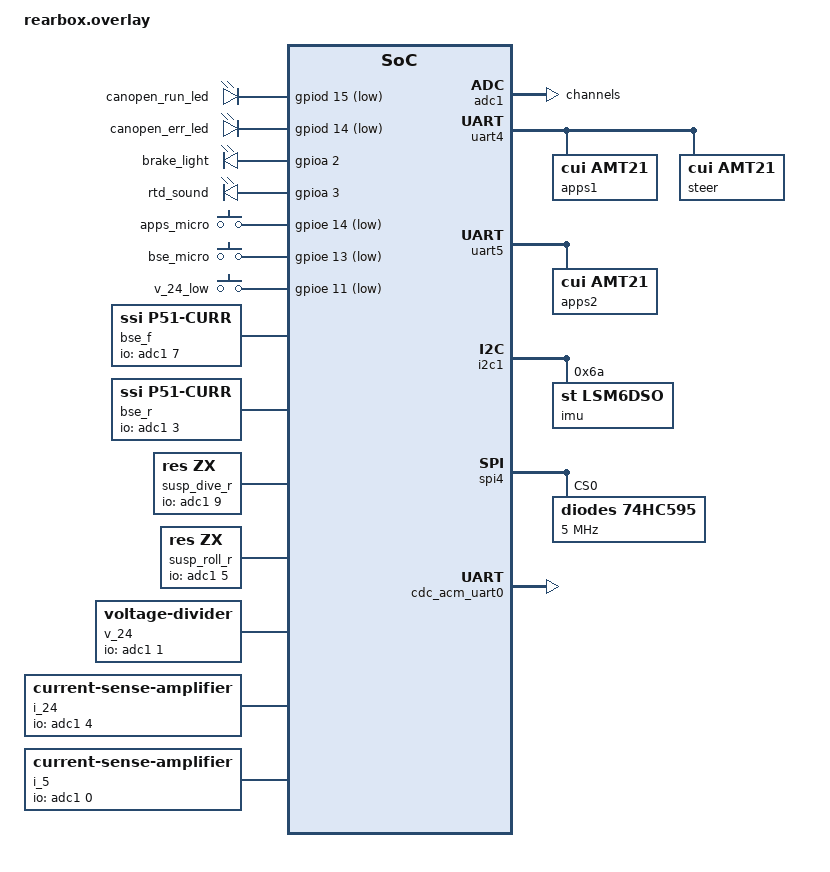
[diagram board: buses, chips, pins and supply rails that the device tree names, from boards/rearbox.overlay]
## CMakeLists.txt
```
cmake_minimum_required(VERSION 3.20.0)
set(CMAKE_C_STANDARD 11)

find_package(Zephyr REQUIRED HINTS $ENV{ZEPHYR_BASE})

project(nturt_rear_box LANGUAGES C)

zephyr_include_directories(
    include
)

add_subdirectory(src/ctrl)
add_subdirectory(src/msg)
add_subdirectory(src/sensors)
add_subdirectory(src/states)

target_sources(app PRIVATE
    src/err.c
    src/main.c
    src/sys.c
)
```

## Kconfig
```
menu "Zephyr"
source "Kconfig.zephyr"
endmenu # "Zephyr"

menu "Rear Box"

rsource "src/ctrl/Kconfig"
rsource "src/msg/Kconfig"
rsource "src/sensors/Kconfig"
rsource "src/states/Kconfig"

endmenu # "Rear Box"
```

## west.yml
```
manifest:
  remotes:
    - name: zephyrproject-rtos
      url-base: https://github.com/zephyrproject-rtos
    - name: nturt
      url-base: https://github.com/NTURacingTeam

  group-filter: [+optional]

  projects:
    - name: zephyr
      remote: nturt
      revision: v4.0.0-nturt
      import: true
    - name: nturt_zephyr_common
      remote: nturt
      revision: master
```

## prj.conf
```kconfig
# compiler
CONFIG_DEBUG=y
CONFIG_DEBUG_OPTIMIZATIONS=y
CONFIG_ASSERT=y

# kernel
CONFIG_REBOOT=y
CONFIG_IDLE_STACK_SIZE=2048

## memory
CONFIG_HEAP_MEM_POOL_SIZE=4096
CONFIG_COMMON_LIBC_MALLOC_ARENA_SIZE=4096

## workqueue
CONFIG_SYSTEM_WORKQUEUE_STACK_SIZE=4096

# hardware
CONFIG_DMA=y

## gpios
CONFIG_GPIO=y

## adc
CONFIG_ADC=y

## uart
CONFIG_SERIAL=y
CONFIG_UART_ASYNC_API=y

## spi
CONFIG_SPI=y

## can
CONFIG_CAN=y
CONFIG_CAN_ACCEPT_RTR=y
CONFIG_CAN_STATS=y

## rtc
CONFIG_RTC=y

## battery backed ram
CONFIG_BBRAM=y

# drivers
## disk
CONFIG_DISK_DRIVERS=y

## leds
CONFIG_LED=y

## sensors
CONFIG_SENSOR=y

## auxiliary display
CONFIG_AUXDISPLAY=y

# os services
## disk
CONFIG_DISK_ACCESS=y

## file system
CONFIG_FILE_SYSTEM=y

## logging
CONFIG_LOG=y
CONFIG_PRINTK=y
CONFIG_LOG_DEFAULT_LEVEL=3
CONFIG_LOG_BUFFER_SIZE=4096
CONFIG_LOG_PROCESS_THREAD_SLEEP_MS=100
CONFIG_LOG_PROCESS_THREAD_STACK_SIZE=4096

### backends
CONFIG_LOG_BACKEND_RTT=y

CONFIG_LOG_BACKEND_FS=y
CONFIG_LOG_BACKEND_FS_DIR="/SD:/log"
CONFIG_LOG_BACKEND_FS_FILE_PREFIX=""
CONFIG_LOG_BACKEND_FS_FILES_LIMIT=4
CONFIG_LOG_BACKEND_FS_FILE_SIZE=262144

## shell
CONFIG_SHELL=y
CONFIG_SHELL_STACK_SIZE=4096

## settings
CONFIG_SETTINGS=y

### backends
CONFIG_SETTINGS_FILE=y
CONFIG_SETTINGS_FILE_MAX_LINES=32
CONFIG_SETTINGS_FILE_PATH="/SD:/settings"

## rtt
CONFIG_USE_SEGGER_RTT=y

## tracing
# CONFIG_TRACING=y

# ## sysview
# CONFIG_SEGGER_SYSTEMVIEW=y
# CONFIG_SEGGER_SYSVIEW_RTT_BUFFER_SIZE=32768

## input
CONFIG_INPUT=y
CONFIG_INPUT_EVENT_DUMP=y

## zbus
CONFIG_ZBUS=y
CONFIG_ZBUS_CHANNEL_NAME=y

## can open
CONFIG_CANOPEN=y
CONFIG_CANOPENNODE_CONFIG_FILE="canopen_config.h"
CONFIG_CANOPENNODE_MAINLINE_THREAD_STACK_SIZE=2048

## statistics
CONFIG_STATS=y

## state machine
CONFIG_SMF=y
CONFIG_SMF_ANCESTOR_SUPPORT=y
CONFIG_SMF_INITIAL_TRANSITION=y

# libraries
## nturt
CONFIG_NTURT=y

### system
CONFIG_NTURT_SYS=y

#### file system
CONFIG_NTURT_SYS_FS=y

#### rtc
CONFIG_NTURT_SYS_RTC=y

#### shell
CONFIG_NTURT_SHELL=y

### message
CONFIG_NTURT_MSG=y
CONFIG_NTURT_MSG_HB=y
CONFIG_NTURT_MSG_SDO_SRV=y
CONFIG_NTURT_MSG_SDO_CLI=y

### sensors
CONFIG_NTURT_SENSORS=y

# application
CONFIG_MAIN_STACK_SIZE=2048

## states
CONFIG_DANGER_MODE=y

## sensors
CONFIG_SENSORS_TOL_THRES=100

CONFIG_AMT21_READ_TRIES=10

### pedals
CONFIG_PEDAL_PLAUS=y

#### APPS
CONFIG_APPS_PLAUS=n
CONFIG_APPS_MICRO=n

#### BSE
CONFIG_BSE_MICRO=n
CONFIG_BSE_R=n
CONFIG_BSE_PLAUS=n
```

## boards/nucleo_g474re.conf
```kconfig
# hardware
## spi
CONFIG_SPI_STM32_DMA=y

## file system
CONFIG_FILE_SYSTEM_LITTLEFS=y
CONFIG_FS_LITTLEFS_CACHE_SIZE=512

## shell
### backends
CONFIG_SHELL_BACKEND_SERIAL=y
CONFIG_SHELL_BACKEND_SERIAL_API_ASYNC=y
CONFIG_SHELL_BACKEND_SERIAL_TX_RING_BUFFER_SIZE=64

# libraries
## nturt
### system
#### file system
CONFIG_NTURT_SYS_FS_LITTLE_FS=y
```

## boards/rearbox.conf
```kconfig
# hardware
## spi
CONFIG_SPI_STM32_DMA=y

# drivers
## disk
CONFIG_DISK_DRIVER_SDMMC=y
CONFIG_SDMMC_STM32_HWFC=y

## usb
CONFIG_USB_DEVICE_DRIVER=y
CONFIG_USB_DRIVER_LOG_LEVEL_WRN=y

# os services
## file system
CONFIG_FAT_FILESYSTEM_ELM=y
CONFIG_FILE_SYSTEM_SHELL_BUFFER_SIZE=1024

## logging
### backend
# 32MB
CONFIG_LOG_BACKEND_FS_FILE_SIZE=33554432

### fatfs
CONFIG_FS_FATFS_LFN=y

## shell
CONFIG_SHELL_STACK_SIZE=8192

### backends
CONFIG_SHELL_BACKEND_SERIAL=y
CONFIG_SHELL_BACKEND_SERIAL_TX_RING_BUFFER_SIZE=64

## usb
CONFIG_USB_DEVICE_STACK=y
CONFIG_USB_DEVICE_PRODUCT="NTU Racing Team rearbox"
CONFIG_USB_DEVICE_PID=0x0001
CONFIG_USB_DEVICE_INITIALIZE_AT_BOOT=y
CONFIG_USB_DEVICE_LOG_LEVEL_WRN=y

### usb cdc acm
CONFIG_USB_CDC_ACM=y
CONFIG_USB_CDC_ACM_LOG_LEVEL_WRN=y

### usb msc
# CONFIG_USB_MASS_STORAGE=y
# CONFIG_USB_MASS_STORAGE_LOG_LEVEL_WRN=y

# libraries
## nturt
### system
#### file system
CONFIG_NTURT_SYS_FS_FAT_FS=y

# applications
CONFIG_SENSORS_POWER=y
```

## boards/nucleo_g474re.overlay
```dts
/ {
    aliases {
        canopen-can = &fdcan2;
        canopen-green-led = &canopen_run_led;
        canopen-red-led = &canopen_err_led;
    };
    
    leds: leds {
        compatible = "gpio-leds";

        canopen_run_led: canopen-run-led {
            gpios = <&gpioa 7 GPIO_ACTIVE_HIGH>;
        };

        canopen_err_led: canopen-err-led {
            gpios = <&gpioa 6 GPIO_ACTIVE_HIGH>;
        };

        brake_light: brake-light {
            gpios = <&gpiob 0 GPIO_ACTIVE_HIGH>;
        };

        rtd_sound: rtd-sound {
            gpios = <&gpioc 8 GPIO_ACTIVE_HIGH>;
        };
    };

    dash_leds: dash-leds {
        compatible = "nturt,dash-leds";
        index = <0x2120>;
        node-id = <0x02>;
        status = "okay";
    };

    pwmleds: pwmleds {
        compatible = "pwm-leds";

        green_pwm_led {
            status = "disabled";
        };
    };

    buttons: buttons {
        compatible = "gpio-keys";
        debounce-interval-ms = <20>;

        apps_micro: apps-micro {
            gpios = <&gpioa 9 GPIO_ACTIVE_LOW>;
            zephyr,code = <INPUT_KEY_A>;
        };

        bse_micro: bse-micro {
            gpios = <&gpioc 7 GPIO_ACTIVE_LOW>;
            zephyr,code = <INPUT_KEY_B>;
        };
    };

    dash_buttons: dash-buttons {
        compatible = "nturt,dash-keys";
        index = <0x2110>;
        zephyr,code = <INPUT_KEY_PLAY>, <INPUT_KEY_H>, <INPUT_KEY_M>;
        status = "okay";
    };

    longpress: longpress {
        compatible = "zephyr,input-longpress";
        input-codes = <INPUT_KEY_PLAY>, <INPUT_KEY_M>, <INPUT_KEY_H>;
        long-codes = <INPUT_KEY_POWER>, <INPUT_KEY_MENU>, <INPUT_KEY_HOME>;
        long-delay-ms = <2000>;
    };

    bse_f: bse-f {
        compatible = "ssi,p51-curr";
        io-channels = <&adc1 1>;
        full-scale = <1000>;
        shunt-resistor = <103200>;
        tolerance = <10>;
        status = "okay";
    };

    bse_r: bse-r {
        compatible = "ssi,p51-curr";
        io-channels = <&adc1 2>;
        full-scale = <1000>;
        shunt-resistor = <103200>;
        tolerance = <10>;
        status = "okay";
    };

    susp_dive_r: susp-dive-r {
        compatible = "res,zx";
        io-channels = <&adc1 8>;
        stroke = <50>;
        status = "okay";
    };

    susp_roll_r: susp-roll-r {
        compatible = "res,zx";
        io-channels = <&adc1 9>;
        stroke = <50>;
        status = "okay";
    };

    wheel_speed_fl: wheel-speed-fl {
        compatible = "hall-rpm";
        gpios = <&gpiob 2 (GPIO_ACTIVE_HIGH | GPIO_PULL_DOWN)>;
        num-tooth = <20>;
        status = "okay";
    };

    error_disp: error-disp {
        compatible = "gpio-seg-display";
        #address-cells = <1>;
        #size-cells = <0>;
        decimal-point;
        columns = <2>;
        rows = <1>;
        status = "okay";

        seg-display@0 {
            reg = <0>;
            segment-gpios = <&ex_gpio1 0 GPIO_ACTIVE_HIGH>,
                            <&ex_gpio1 1 GPIO_ACTIVE_HIGH>,
                            <&ex_gpio1 2 GPIO_ACTIVE_HIGH>,
                            <&ex_gpio1 3 GPIO_ACTIVE_HIGH>,
                            <&ex_gpio1 4 GPIO_ACTIVE_HIGH>,
                            <&ex_gpio1 5 GPIO_ACTIVE_HIGH>,
                            <&ex_gpio1 6 GPIO_ACTIVE_HIGH>,
                            <&ex_gpio1 7 GPIO_ACTIVE_HIGH>;
        };

        seg-display@1 {
            reg = <1>;
            segment-gpios = <&ex_gpio0 0 GPIO_ACTIVE_HIGH>,
                            <&ex_gpio0 1 GPIO_ACTIVE_HIGH>,
                            <&ex_gpio0 2 GPIO_ACTIVE_HIGH>,
                            <&ex_gpio0 3 GPIO_ACTIVE_HIGH>,
                            <&ex_gpio0 4 GPIO_ACTIVE_HIGH>,
                            <&ex_gpio0 5 GPIO_ACTIVE_HIGH>,
                            <&ex_gpio0 6 GPIO_ACTIVE_HIGH>,
                            <&ex_gpio0 7 GPIO_ACTIVE_HIGH>;
        };
    };

    fstab {
        compatible = "zephyr,fstab";

        lfs1: lfs1 {
            compatible = "zephyr,fstab,littlefs";
            disk-access;
            read-size = <512>;
            prog-size = <512>;
            cache-size = <512>;
            lookahead-size = <32>;
            block-cycles = <512>;
            partition = <&storage_partition>;
            mount-point = "/lfs1";
        };
    };
};

&clk_lse {
    status = "okay";
};

&rcc {
    apb1-prescaler = <4>;
    apb2-prescaler = <4>;
};

&dma1 {
    status = "okay";
};

&dmamux1 {
    status = "okay";
};

&rtc {
    clocks = <&rcc STM32_CLOCK_BUS_APB1 0x00000400>,
        <&rcc STM32_SRC_LSE RTC_SEL(1)>;

    bbram: backup_regs {
        compatible = "st,stm32-bbram";
        st,backup-regs = <32>;
        status = "okay";
    };
};

&adc1 {
	pinctrl-0 = <&adc1_in1_pa0 &adc1_in2_pa1 &adc1_in8_pc2 &adc1_in9_pc3>;
	pinctrl-names = "default";
	st,adc-clock-source = <SYNC>;
	st,adc-prescaler = <4>;
    #address-cells = <1>;
    #size-cells = <0>;
	status = "okay";

    channel@1 {
        reg = <1>;
        zephyr,gain = "ADC_GAIN_1";
        zephyr,reference = "ADC_REF_INTERNAL";
        zephyr,acquisition-time = <ADC_ACQ_TIME(ADC_ACQ_TIME_TICKS, 93)>;
        zephyr,resolution = <12>;
        zephyr,oversampling = <8>;
    };

    channel@2 {
        reg = <2>;
        zephyr,gain = "ADC_GAIN_1";
        zephyr,reference = "ADC_REF_INTERNAL";
        zephyr,acquisition-time = <ADC_ACQ_TIME(ADC_ACQ_TIME_TICKS, 93)>;
        zephyr,resolution = <12>;
        zephyr,oversampling = <8>;
    };

    channel@8 {
        reg = <8>;
        zephyr,gain = "ADC_GAIN_1";
        zephyr,reference = "ADC_REF_INTERNAL";
        zephyr,acquisition-time = <ADC_ACQ_TIME(ADC_ACQ_TIME_TICKS, 93)>;
        zephyr,resolution = <12>;
    };

    channel@9 {
        reg = <9>;
        zephyr,gain = "ADC_GAIN_1";
        zephyr,reference = "ADC_REF_INTERNAL";
        zephyr,acquisition-time = <ADC_ACQ_TIME(ADC_ACQ_TIME_TICKS, 93)>;
        zephyr,resolution = <12>;
    };
};

&usart1 {
    pinctrl-0 = <&usart1_tx_pc4 &usart1_rx_pc5 &usart1_de_pa12>;
    pinctrl-names = "default";
    current-speed = <38400>;
    de-enable;
    de-assert-time = <6>;
    de-deassert-time = <6>;
    status = "okay";

    apps1: encoder1 {
        compatible = "cui,amt21";
        addr = <0x54>;
        status = "okay";
    };

    steer: encoder0 {
        compatible = "cui,amt21";
        addr = <0x50>;
        status = "okay";
    };
};

&usart3 {
    pinctrl-0 = <&usart3_tx_pb10 &usart3_rx_pb11 &usart3_de_pb14>;
    pinctrl-names = "default";
    current-speed = <38400>;
    de-enable;
    de-assert-time = <6>;
    de-deassert-time = <6>;
    status = "okay";

    apps2: encoder2 {
        compatible = "cui,amt21";
        addr = <0x54>;
        status = "okay";
    };
};

&uart5 {
    pinctrl-0 = <&uart5_tx_pc12 &uart5_rx_pd2 &uart5_de_pb4>;
    pinctrl-names = "default";
    current-speed = <38400>;
    de-enable;
    de-assert-time = <6>;
    de-deassert-time = <6>;
    status = "disabled";
};

&spi2 {
    pinctrl-0 = <&spi2_sck_pb13 &spi2_miso_pa10 &spi2_mosi_pb15>;
    pinctrl-names = "default";
    cs-gpios = <&gpioc 6 (GPIO_ACTIVE_LOW | GPIO_PULL_UP)>;
    status = "okay";

    74hc595@0 {
        compatible = "diodes,74hc595";
        #address-cells = <1>;
        #size-cells = <0>;
        reg = <0>;
        spi-max-frequency = <5000000>;
        status = "okay";

        ex_gpio0: ex-gpio@0 {
            reg = <0>;
            gpio-controller;
            ngpios = <8>;
            #gpio-cells = <2>;
            status = "okay";
        };

        ex_gpio1: ex-gpio@1 {
            reg = <1>;
            gpio-controller;
            ngpios = <8>;
            #gpio-cells = <2>;
            status = "okay";
        };
    };
};

&spi3 {
    pinctrl-0 = <&spi3_sck_pc10 &spi3_miso_pc11 &spi3_mosi_pb5>;
    pinctrl-names = "default";
    cs-gpios = <&gpiob 7 (GPIO_ACTIVE_LOW | GPIO_PULL_UP)>;
    dmas = <&dmamux1 1 14 STM32_DMA_PERIPH_RX>,
        <&dmamux1 2 15 STM32_DMA_PERIPH_TX>;
    dma-names = "rx", "tx";
    status = "okay";

    sdhc0: sdhc@0 {
        compatible = "zephyr,sdhc-spi-slot";
        reg = <0>;
        spi-max-frequency = <4000000>;
        status = "okay";

        mmc {
            compatible = "zephyr,sdmmc-disk";
            status = "okay";
        };
    };
};

&fdcan1 {
    pinctrl-0 = <&fdcan1_tx_pb9 &fdcan1_rx_pb8>;
    pinctrl-names = "default";
    bitrate = <500000>;
    sample-point = <800>;
    bitrate-data = <500000>;
    sample-point-data = <800>;
    status = "disabled";
};

&fdcan2 {
    pinctrl-0 = <&fdcan2_tx_pb6 &fdcan2_rx_pb12>;
    pinctrl-names = "default";
    bitrate = <500000>;
    sample-point = <800>;
    bitrate-data = <500000>;
    sample-point-data = <800>;
    status = "okay";
};

&fdcan3 {
    pinctrl-0 = <&fdcan3_tx_pa15 &fdcan3_rx_pa8>;
    pinctrl-names = "default";
    bitrate = <500000>;
    sample-point = <800>;
    bitrate-data = <500000>;
    sample-point-data = <800>;
    status = "disabled";
};
```

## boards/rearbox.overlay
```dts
#include "dt-bindings/rear_box.h"

/ {
    chosen {
        zephyr,console = &cdc_acm_uart0;
        zephyr,shell-uart = &cdc_acm_uart0;
        nturt,rtc = &rtc;
    };

    aliases {
        canopen-green-led = &canopen_run_led;
        canopen-red-led = &canopen_err_led;
    };

    leds: leds {
        compatible = "gpio-leds";

        place-holder {
            gpios = <&gpioa 0 GPIO_ACTIVE_HIGH>;
            status = "disabled";
        };

        canopen_run_led: canopen-run-led {
            gpios = <&gpiod 15 (GPIO_ACTIVE_LOW | GPIO_OPEN_DRAIN)>;
        };

        canopen_err_led: canopen-err-led {
            gpios = <&gpiod 14 (GPIO_ACTIVE_LOW | GPIO_OPEN_DRAIN)>;
        };

        brake_light: brake-light {
            gpios = <&gpioa 2 GPIO_ACTIVE_HIGH>;
        };

        rtd_sound: rtd-sound {
            gpios = <&gpioa 3 GPIO_ACTIVE_HIGH>;
        };
    };

    dash_leds: dash-leds {
        compatible = "nturt,dash-leds";
    };

    buttons: buttons {
        compatible = "gpio-keys";
        debounce-interval-ms = <20>;

        apps_micro: apps-micro {
            gpios = <&gpioe 14 (GPIO_ACTIVE_LOW | GPIO_PULL_UP)>;
            zephyr,code = <INPUT_APPS_MICRO>;
        };

        bse_micro: bse-micro {
            gpios = <&gpioe 13 (GPIO_ACTIVE_LOW | GPIO_PULL_UP)>;
            zephyr,code = <INPUT_BSE_MICRO>;
        };

        v_24_low: v-24-low {
            gpios = <&gpioe 11 (GPIO_ACTIVE_LOW | GPIO_PULL_UP)>;
            zephyr,code = <INPUT_POWER_LOW>;
        };

    };

    bse_f: bse-f {
        compatible = "ssi,p51-curr";
        io-channels = <&adc1 7>;
        full-scale = <1000>;
        shunt-resistor = <120000>;
        tolerance = <10>;
    };

    bse_r: bse-r {
        compatible = "ssi,p51-curr";
        io-channels = <&adc1 3>;
        full-scale = <1000>;
        shunt-resistor = <120000>;
        tolerance = <10>;
    };

    susp_dive_r: susp-dive-r {
        compatible = "res,zx";
        io-channels = <&adc1 9>;
        stroke = <50>;
    };

    susp_roll_r: susp-roll-r {
        compatible = "res,zx";
        io-channels = <&adc1 5>;
        stroke = <50>;
    };

    v_24: v-24 {
        compatible = "voltage-divider";
        io-channels = <&adc1 1>;
        full-ohms = <(47000 + 5600)>;
        output-ohms = <5600>;
    };

    i_24: i-24 {
        compatible = "current-sense-amplifier";
        io-channels = <&adc1 4>;
        sense-resistor-milli-ohms = <5>;
        sense-gain-mult = <100>;
    };

    i_5: i-5 {
        compatible = "current-sense-amplifier";
        io-channels = <&adc1 0>;
        sense-resistor-milli-ohms = <10>;
        sense-gain-mult = <100>;
    };

    error_disp: error-disp {
        compatible = "gpio-seg-display";
        #address-cells = <1>;
        #size-cells = <0>;
        decimal-point;
        columns = <2>;
        rows = <1>;

        seg-display@0 {
            reg = <0>;
            segment-gpios = <&ex_gpio1 0 GPIO_ACTIVE_HIGH>,
                            <&ex_gpio1 1 GPIO_ACTIVE_HIGH>,
                            <&ex_gpio1 2 GPIO_ACTIVE_HIGH>,
                            <&ex_gpio1 3 GPIO_ACTIVE_HIGH>,
                            <&ex_gpio1 4 GPIO_ACTIVE_HIGH>,
                            <&ex_gpio1 5 GPIO_ACTIVE_HIGH>,
                            <&ex_gpio1 6 GPIO_ACTIVE_HIGH>,
                            <&ex_gpio1 7 GPIO_ACTIVE_HIGH>;
        };

        seg-display@1 {
            reg = <1>;
            segment-gpios = <&ex_gpio0 0 GPIO_ACTIVE_HIGH>,
                            <&ex_gpio0 1 GPIO_ACTIVE_HIGH>,
                            <&ex_gpio0 2 GPIO_ACTIVE_HIGH>,
                            <&ex_gpio0 3 GPIO_ACTIVE_HIGH>,
                            <&ex_gpio0 4 GPIO_ACTIVE_HIGH>,
                            <&ex_gpio0 5 GPIO_ACTIVE_HIGH>,
                            <&ex_gpio0 6 GPIO_ACTIVE_HIGH>,
                            <&ex_gpio0 7 GPIO_ACTIVE_HIGH>;
        };
    };
};

&gpdma1 {
    status = "okay";
};

&adc1 {
    channel@0 {
        zephyr,oversampling = <4>;
    };

    channel@1 {
        zephyr,oversampling = <4>;
    };

    channel@4 {
        zephyr,oversampling = <4>;
    };
};

&usart2 {
    dmas = <&gpdma1 0 23 STM32_DMA_PERIPH_RX>,
           <&gpdma1 1 24 STM32_DMA_PERIPH_TX>;
    dma-names = "rx", "tx";

    // gnss0: gnss0 {
    // 		compatible = "gnss-nmea-generic";
    // };
};

&uart4 {
    apps1: apps1 {
        compatible = "cui,amt21";
        addr = <0x54>;
    };

    steer: steer {
        compatible = "cui,amt21";
        addr = <0x50>;
    };
};

&uart5 {
    apps2: apps2 {
        compatible = "cui,amt21";
        addr = <0x54>;
    };
};

&i2c1 {
    imu: imu@6a {
        compatible = "st,lsm6dso";
        reg = <0x6a>;
        accel-range = <2>; // 4g
        accel-odr = <4>; // 104Hz
        gyro-range = <0>; // 250dps
        gyro-odr = <4>; // 104Hz
    };
};

&spi4 {
    dmas = <&gpdma1 2 47 STM32_DMA_PERIPH_RX>,
           <&gpdma1 3 48 STM32_DMA_PERIPH_TX>;
    dma-names = "rx", "tx";

    74hc595@0 {
        compatible = "diodes,74hc595";
        #address-cells = <1>;
        #size-cells = <0>;
        reg = <0>;
        spi-max-frequency = <5000000>;

        ex_gpio0: ex-gpio@0 {
            reg = <0>;
            gpio-controller;
            ngpios = <8>;
            #gpio-cells = <2>;
        };

        ex_gpio1: ex-gpio@1 {
            reg = <1>;
            gpio-controller;
            ngpios = <8>;
            #gpio-cells = <2>;
        };
    };
};

&zephyr_udc0 {
    cdc_acm_uart0: cdc-acm-uart0 {
        compatible = "zephyr,cdc-acm-uart";
    };
};
```

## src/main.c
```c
// glibc includes
#include <errno.h>
#include <stdint.h>

// zephyr includes
#include <zephyr/device.h>
#include <zephyr/devicetree.h>
#include <zephyr/drivers/auxdisplay.h>
#include <zephyr/drivers/bbram.h>
#include <zephyr/drivers/gpio.h>
#include <zephyr/drivers/led.h>
#include <zephyr/drivers/sensor.h>
#include <zephyr/kernel.h>
#include <zephyr/logging/log.h>
#include <zephyr/sys/util.h>

// project includes
#include "dt-bindings/rear_box.h"

LOG_MODULE_REGISTER(main);

// static const struct device *v_24 = DEVICE_DT_GET(DT_NODELABEL(v_24));
// static const struct device *i_24 = DEVICE_DT_GET(DT_NODELABEL(i_24));
// static const struct device *i_5 = DEVICE_DT_GET(DT_NODELABEL(i_5));

// static const struct device *leds = DEVICE_DT_GET(DT_NODELABEL(leds));
// static const struct device *dash_leds =
// DEVICE_DT_GET(DT_NODELABEL(dash_leds));

// static const struct device *steer = DEVICE_DT_GET(DT_NODELABEL(steer));
// static const struct device *apps1 = DEVICE_DT_GET(DT_NODELABEL(apps1));
// static const struct device *apps2 = DEVICE_DT_GET(DT_NODELABEL(apps2));

// static const struct device *bse_f = DEVICE_DT_GET(DT_NODELABEL(bse_f));

// static const struct device *susp_roll_r =
//     DEVICE_DT_GET(DT_NODELABEL(susp_roll_r));

// static const struct device *error_disp =
//     DEVICE_DT_GET(DT_NODELABEL(error_disp));

int main() {
  struct sensor_value val;
  int ret;

  while (true) {
    // if ((ret = sensor_sample_fetch_chan(v_24, SENSOR_CHAN_VOLTAGE)) < 0 ||
    //     (ret = sensor_channel_get(v_24, SENSOR_CHAN_VOLTAGE, &val)) < 0) {
    //   LOG_ERR("Failed to get v_24 data: %s", strerror(-ret));
    // } else {
    //   LOG_INF("v_24 val: %f", (double)sensor_value_to_float(&val));
    // }

    // if ((ret = sensor_sample_fetch_chan(i_24, SENSOR_CHAN_CURRENT)) < 0 ||
    //     (ret = sensor_channel_get(i_24, SENSOR_CHAN_CURRENT, &val)) < 0) {
    //   LOG_ERR("Failed to get i_24 data: %s", strerror(-ret));
    // } else {
    //   LOG_INF("i_24 val: %f", (double)sensor_value_to_float(&val));
    // }

    // if ((ret = sensor_sample_fetch_chan(i_5, SENSOR_CHAN_CURRENT)) < 0 ||
    //     (ret = sensor_channel_get(i_5, SENSOR_CHAN_CURRENT, &val)) < 0) {
    //   LOG_ERR("Failed to get i_5 data: %s", strerror(-ret));
    // } else {
    //   LOG_INF("i_5 val: %f", (double)sensor_value_to_float(&val));
    // }

    // if ((ret = sensor_sample_fetch_chan(susp_roll_r, SENSOR_CHAN_DISTANCE)) <
    //         0 ||
    //     (ret = sensor_channel_get(susp_roll_r, SENSOR_CHAN_DISTANCE, &val)) <
    //         0) {
    //   LOG_ERR("Failed to get susp_roll_r data: %s", strerror(-ret));
    // } else {
    //   LOG_INF("susp_roll_r val: %f1", sensor_value_to_float(&val));
    // }

    // if ((ret = sensor_sample_fetch_chan(steer, SENSOR_CHAN_ROTATION)) < 0 ||
    //     (ret = sensor_channel_get(steer, SENSOR_CHAN_ROTATION, &val)) < 0) {
    //   LOG_ERR("Failed to get steer data: %s", strerror(-ret));
    // } else {
    //   LOG_INF("steer val: %f", sensor_value_to_float(&val));
    // }

    // if ((ret = sensor_sample_fetch_chan(apps1, SENSOR_CHAN_ROTATION)) < 0 ||
    //     (ret = sensor_channel_get(apps1, SENSOR_CHAN_ROTATION, &val)) < 0) {
    //   LOG_ERR("Failed to get apps1 data: %s", strerror(-ret));
    // } else {
    //   LOG_INF("apps1 val: %f", sensor_value_to_float(&val));
    // }

    // if ((ret = sensor_sample_fetch_chan(apps2, SENSOR_CHAN_ROTATION)) < 0 ||
    //     (ret = sensor_channel_get(apps2, SENSOR_CHAN_ROTATION, &val)) < 0) {
    //   LOG_ERR("Failed to get apps2 data: %s", strerror(-ret));
    // } else {
    //   LOG_INF("apps2 val: %f", sensor_value_to_float(&val));
    // }

    k_sleep(K_MSEC(500));
  }

  return 0;
}
```

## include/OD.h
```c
/*******************************************************************************
    CANopen Object Dictionary definition for CANopenNode V4

    This file was automatically generated by CANopenEditor v4.2.1-0-g5ca7d71

    https://github.com/CANopenNode/CANopenNode
    https://github.com/CANopenNode/CANopenEditor

    DON'T EDIT THIS FILE MANUALLY !!!!
********************************************************************************

    File info:
        File Names:   OD.h; OD.c
        Project File: nturt_rear_box.xdd
        File Version: 0

        Created:      2024/6/10 上午 09:31:00
        Created By:   NTU Racing Team
        Modified:     2024/7/6 下午 09:50:56
        Modified By:  NTU Racing Team

    Device Info:
        Vendor Name:  NTU Racing Team
        Vendor ID:    0
        Product Name: NTURT Rear Box
        Product ID:   0

        Description:  
*******************************************************************************/

#ifndef OD_H
#define OD_H
/*******************************************************************************
    Counters of OD objects
*******************************************************************************/
#define OD_CNT_NMT 1
#define OD_CNT_EM 1
#define OD_CNT_SYNC 1
#define OD_CNT_SYNC_PROD 1
#define OD_CNT_STORAGE 1
#define OD_CNT_TIME 1
#define OD_CNT_EM_PROD 1
#define OD_CNT_HB_CONS 1
#define OD_CNT_HB_PROD 1
#define OD_CNT_SDO_SRV 1
#define OD_CNT_SDO_CLI 1
#define OD_CNT_RPDO 4
#define OD_CNT_TPDO 4


/*******************************************************************************
    Sizes of OD arrays
*******************************************************************************/
#define OD_CNT_ARR_1003 16
#define OD_CNT_ARR_1010 4
#define OD_CNT_ARR_1011 4
#define OD_CNT_ARR_1016 4
#define OD_CNT_ARR_1020 2
#define OD_CNT_ARR_1029 2


/*******************************************************************************
    OD data declaration of all groups
*******************************************************************************/
typedef struct {
    uint32_t x1000_deviceType;
    char x1008_manufacturerDeviceName[15];
    char x1009_manufacturerHardwareVersion[7];
    char x100A_manufacturerSoftwareVersion[7];
    struct {
        uint8_t highestSub_indexSupported;
        uint32_t vendor_ID;
        uint32_t productCode;
        uint32_t revisionNumber;
        uint32_t serialNumber;
    } x1018_identity;
    uint32_t x1F80_NMTStartup;
} OD_ROM_t;

typedef struct {
    uint8_t x1001_errorRegister;
    uint8_t x1010_storeParameters_sub0;
    int32_t x1010_storeParameters[OD_CNT_ARR_1010];
    uint8_t x1011_restoreDefaultParameters_sub0;
    int32_t x1011_restoreDefaultParameters[OD_CNT_ARR_1011];
} OD_RAM_t;

typedef struct {
    uint32_t x1005_COB_ID_SYNCMessage;
    uint32_t x1006_communicationCyclePeriod;
    uint32_t x1007_synchronousWindowLength;
    uint32_t x1012_COB_IDTimeStampObject;
    uint32_t x1014_COB_ID_EMCY;
    uint16_t x1015_inhibitTimeEMCY;
    uint8_t x1016_consumerHeartbeatTime_sub0;
    int32_t x1016_consumerHeartbeatTime[OD_CNT_ARR_1016];
    uint16_t x1017_producerHeartbeatTime;
    uint8_t x1019_synchronousCounterOverflowValue;
    struct {
        uint8_t highestSub_indexSupported;
        uint32_t COB_IDClientToServer;
        uint32_t COB_IDServerToClient;
    } x1200_SDOServerParameter;
    struct {
        uint8_t highestSub_indexSupported;
        uint32_t COB_IDClientToServer;
        uint32_t COB_IDServerToClient;
        uint8_t node_IDOfTheSDOServer;
    } x1280_SDOClientParameter;
    struct {
        uint8_t highestSub_indexSupported;
        uint32_t COB_IDUsedByRPDO;
        uint8_t transmissionType;
        uint16_t eventTimer;
    } x1400_RPDOCommunicationParameter;
    struct {
        uint8_t highestSub_indexSupported;
        uint32_t COB_IDUsedByRPDO;
        uint8_t transmissionType;
        uint16_t eventTimer;
    } x1401_RPDOCommunicationParameter;
    struct {
        uint8_t highestSub_indexSupported;
        uint32_t COB_IDUsedByRPDO;
        uint8_t transmissionType;
        uint16_t eventTimer;
    } x1402_RPDOCommunicationParameter;
    struct {
        uint8_t highestSub_indexSupported;
        uint32_t COB_IDUsedByRPDO;
        uint8_t transmissionType;
        uint16_t eventTimer;
    } x1403_RPDOCommunicationParameter;
    struct {
        uint8_t numberOfMappedApplicationObjectsInPDO;
        uint32_t applicationObject1;
        uint32_t applicationObject2;
        uint32_t applicationObject3;
        uint32_t applicationObject4;
        uint32_t applicationObject5;
        uint32_t applicationObject6;
        uint32_t applicationObject7;
        uint32_t applicationObject8;
    } x1600_RPDOMappingParameter;
    struct {
        uint8_t numberOfMappedApplicationObjectsInPDO;
        uint32_t applicationObject1;
        uint32_t applicationObject2;
        uint32_t applicationObject3;
        uint32_t applicationObject4;
        uint32_t applicationObject5;
        uint32_t applicationObject6;
        uint32_t applicationObject7;
        uint32_t applicationObject8;
    } x1601_RPDOMappingParameter;
    struct {
        uint8_t numberOfMappedApplicationObjectsInPDO;
        uint32_t applicationObject1;
        uint32_t applicationObject2;
        uint32_t applicationObject3;
        uint32_t applicationObject4;
        uint32_t applicationObject5;
        uint32_t applicationObject6;
        uint32_t applicationObject7;
        uint32_t applicationObject8;
    } x1602_RPDOMappingParameter;
    struct {
        uint8_t numberOfMappedApplicationObjectsInPDO;
        uint32_t applicationObject1;
        uint32_t applicationObject2;
        uint32_t applicationObject3;
        uint32_t applicationObject4;
        uint32_t applicationObject5;
        uint32_t applicationObject6;
        uint32_t applicationObject7;
        uint32_t applicationObject8;
    } x1603_RPDOMappingParameter;
    struct {
        uint8_t highestSub_indexSupported;
        uint32_t COB_IDUsedByTPDO;
        uint8_t transmissionType;
        uint16_t inhibitTime;
        uint8_t compatibilityEntry;
        uint16_t eventTimer;
        uint8_t SYNCStartValue;
    } x1800_TPDOCommunicationParameter;
    struct {
        uint8_t highestSub_indexSupported;
        uint32_t COB_IDUsedByTPDO;
        uint8_t transmissionType;
        uint16_t inhibitTime;
        uint8_t compatibilityEntry;
        uint16_t eventTimer;
        uint8_t SYNCStartValue;
    } x1801_TPDOCommunicationParameter;
    struct {
        uint8_t highestSub_indexSupported;
        uint32_t COB_IDUsedByTPDO;
        uint8_t transmissionType;
        uint16_t inhibitTime;
        uint8_t compatibilityEntry;
        uint16_t eventTimer;
        uint8_t SYNCStartValue;
    } x1802_TPDOCommunicationParameter;
    struct {
        uint8_t highestSub_indexSupported;
        uint32_t COB_IDUsedByTPDO;
        uint8_t transmissionType;
        uint16_t inhibitTime;
        uint8_t compatibilityEntry;
        uint16_t eventTimer;
        uint8_t SYNCStartValue;
    } x1803_TPDOCommunicationParameter;
    struct {
        uint8_t numberOfMappedApplicationObjectsInPDO;
        uint32_t applicationObject1;
        uint32_t applicationObject2;
        uint32_t applicationObject3;
        uint32_t applicationObject4;
        uint32_t applicationObject5;
        uint32_t applicationObject6;
        uint32_t applicationObject7;
        uint32_t applicationObject8;
    } x1A00_TPDOMappingParameter;
    struct {
        uint8_t numberOfMappedApplicationObjectsInPDO;
        uint32_t applicationObject1;
        uint32_t applicationObject2;
        uint32_t applicationObject3;
        uint32_t applicationObject4;
        uint32_t applicationObject5;
        uint32_t applicationObject6;
        uint32_t applicationObject7;
        uint32_t applicationObject8;
    } x1A01_TPDOMappingParameter;
    struct {
        uint8_t numberOfMappedApplicationObjectsInPDO;
        uint32_t applicationObject1;
        uint32_t applicationObject2;
        uint32_t applicationObject3;
        uint32_t applicationObject4;
        uint32_t applicationObject5;
        uint32_t applicationObject6;
        uint32_t applicationObject7;
        uint32_t applicationObject8;
    } x1A02_TPDOMappingParameter;
    struct {
        uint8_t numberOfMappedApplicationObjectsInPDO;
        uint32_t applicationObject1;
        uint32_t applicationObject2;
        uint32_t applicationObject3;
        uint32_t applicationObject4;
        uint32_t applicationObject5;
        uint32_t applicationObject6;
        uint32_t applicationObject7;
        uint32_t applicationObject8;
    } x1A03_TPDOMappingParameter;
} OD_PERSIST_COMM_t;

typedef struct {
    uint8_t x1020_verifyConfiguration_sub0;
    int32_t x1020_verifyConfiguration[OD_CNT_ARR_1020];
    uint8_t x1029_errorBehavior_sub0;
    uint8_t x1029_errorBehavior[OD_CNT_ARR_1029];
} OD_EEPROM_t;

#ifndef OD_ATTR_ROM
#define OD_ATTR_ROM
#endif
extern OD_ATTR_ROM OD_ROM_t OD_ROM;

#ifndef OD_ATTR_RAM
#define OD_ATTR_RAM
#endif
extern OD_ATTR_RAM OD_RAM_t OD_RAM;

#ifndef OD_ATTR_PERSIST_COMM
#define OD_ATTR_PERSIST_COMM
#endif
extern OD_ATTR_PERSIST_COMM OD_PERSIST_COMM_t OD_PERSIST_COMM;

#ifndef OD_ATTR_EEPROM
#define OD_ATTR_EEPROM
#endif
extern OD_ATTR_EEPROM OD_EEPROM_t OD_EEPROM;

#ifndef OD_ATTR_OD
#define OD_ATTR_OD
#endif
extern OD_ATTR_OD OD_t *OD;


/*******************************************************************************
    Object dictionary entries - shortcuts
*******************************************************************************/
#define OD_ENTRY_H1000 &OD->list[0]
#define OD_ENTRY_H1001 &OD->list[1]
#define OD_ENTRY_H1003 &OD->list[2]
#define OD_ENTRY_H1005 &OD->list[3]
#define OD_ENTRY_H1006 &OD->list[4]
#define OD_ENTRY_H1007 &OD->list[5]
#define OD_ENTRY_H1008 &OD->list[6]
#define OD_ENTRY_H1009 &OD->list[7]
#define OD_ENTRY_H100A &OD->list[8]
#define OD_ENTRY_H1010 &OD->list[9]
#define OD_ENTRY_H1011 &OD->list[10]
#define OD_ENTRY_H1012 &OD->list[11]
#define OD_ENTRY_H1014 &OD->list[12]
#define OD_ENTRY_H1015 &OD->list[13]
#define OD_ENTRY_H1016 &OD->list[14]
#define OD_ENTRY_H1017 &OD->list[15]
#define OD_ENTRY_H1018 &OD->list[16]
#define OD_ENTRY_H1019 &OD->list[17]
#define OD_ENTRY_H1020 &OD->list[18]
#define OD_ENTRY_H1029 &OD->list[19]
#define OD_ENTRY_H1200 &OD->list[20]
#define OD_ENTRY_H1280 &OD->list[21]
#define OD_ENTRY_H1400 &OD->list[22]
#define OD_ENTRY_H1401 &OD->list[23]
#define OD_ENTRY_H1402 &OD->list[24]
#define OD_ENTRY_H1403 &OD->list[25]
#define OD_ENTRY_H1600 &OD->list[26]
#define OD_ENTRY_H1601 &OD->list[27]
#define OD_ENTRY_H1602 &OD->list[28]
#define OD_ENTRY_H1603 &OD->list[29]
#define OD_ENTRY_H1800 &OD->list[30]
#define OD_ENTRY_H1801 &OD->list[31]
#define OD_ENTRY_H1802 &OD->list[32]
#define OD_ENTRY_H1803 &OD->list[33]
#define OD_ENTRY_H1A00 &OD->list[34]
#define OD_ENTRY_H1A01 &OD->list[35]
#define OD_ENTRY_H1A02 &OD->list[36]
#define OD_ENTRY_H1A03 &OD->list[37]
#define OD_ENTRY_H1F80 &OD->list[38]


/*******************************************************************************
    Object dictionary entries - shortcuts with names
*******************************************************************************/
#define OD_ENTRY_H1000_deviceType &OD->list[0]
#define OD_ENTRY_H1001_errorRegister &OD->list[1]
#define OD_ENTRY_H1003_pre_definedErrorField &OD->list[2]
#define OD_ENTRY_H1005_COB_ID_SYNCMessage &OD->list[3]
#define OD_ENTRY_H1006_communicationCyclePeriod &OD->list[4]
#define OD_ENTRY_H1007_synchronousWindowLength &OD->list[5]
#define OD_ENTRY_H1008_manufacturerDeviceName &OD->list[6]
#define OD_ENTRY_H1009_manufacturerHardwareVersion &OD->list[7]
#define OD_ENTRY_H100A_manufacturerSoftwareVersion &OD->list[8]
#define OD_ENTRY_H1010_storeParameters &OD->list[9]
#define OD_ENTRY_H1011_restoreDefaultParameters &OD->list[10]
#define OD_ENTRY_H1012_COB_IDTimeStampObject &OD->list[11]
#define OD_ENTRY_H1014_COB_ID_EMCY &OD->list[12]
#define OD_ENTRY_H1015_inhibitTimeEMCY &OD->list[13]
#define OD_ENTRY_H1016_consumerHeartbeatTime &OD->list[14]
#define OD_ENTRY_H1017_producerHeartbeatTime &OD->list[15]
#define OD_ENTRY_H1018_identity &OD->list[16]
#define OD_ENTRY_H1019_synchronousCounterOverflowValue &OD->list[17]
#define OD_ENTRY_H1020_verifyConfiguration &OD->list[18]
#define OD_ENTRY_H1029_errorBehavior &OD->list[19]
#define OD_ENTRY_H1200_SDOServerParameter &OD->list[20]
#define OD_ENTRY_H1280_SDOClientParameter &OD->list[21]
#define OD_ENTRY_H1400_RPDOCommunicationParameter &OD->list[22]
#define OD_ENTRY_H1401_RPDOCommunicationParameter &OD->list[23]
#define OD_ENTRY_H1402_RPDOCommunicationParameter &OD->list[24]
#define OD_ENTRY_H1403_RPDOCommunicationParameter &OD->list[25]
#define OD_ENTRY_H1600_RPDOMappingParameter &OD->list[26]
#define OD_ENTRY_H1601_RPDOMappingParameter &OD->list[27]
#define OD_ENTRY_H1602_RPDOMappingParameter &OD->list[28]
#define OD_ENTRY_H1603_RPDOMappingParameter &OD->list[29]
#define OD_ENTRY_H1800_TPDOCommunicationParameter &OD->list[30]
#define OD_ENTRY_H1801_TPDOCommunicationParameter &OD->list[31]
#define OD_ENTRY_H1802_TPDOCommunicationParameter &OD->list[32]
#define OD_ENTRY_H1803_TPDOCommunicationParameter &OD->list[33]
#define OD_ENTRY_H1A00_TPDOMappingParameter &OD->list[34]
#define OD_ENTRY_H1A01_TPDOMappingParameter &OD->list[35]
#define OD_ENTRY_H1A02_TPDOMappingParameter &OD->list[36]
#define OD_ENTRY_H1A03_TPDOMappingParameter &OD->list[37]
#define OD_ENTRY_H1F80_NMTStartup &OD->list[38]


/*******************************************************************************
    OD config structure
*******************************************************************************/
#ifdef CO_MULTIPLE_OD
#define OD_INIT_CONFIG(config) {\
    (config).CNT_NMT = OD_CNT_NMT;\
    (config).ENTRY_H1017 = OD_ENTRY_H1017;\
    (config).CNT_HB_CONS = OD_CNT_HB_CONS;\
    (config).CNT_ARR_1016 = OD_CNT_ARR_1016;\
    (config).ENTRY_H1016 = OD_ENTRY_H1016;\
    (config).CNT_EM = OD_CNT_EM;\
    (config).ENTRY_H1001 = OD_ENTRY_H1001;\
    (config).ENTRY_H1014 = OD_ENTRY_H1014;\
    (config).ENTRY_H1015 = OD_ENTRY_H1015;\
    (config).CNT_ARR_1003 = OD_CNT_ARR_1003;\
    (config).ENTRY_H1003 = OD_ENTRY_H1003;\
    (config).CNT_SDO_SRV = OD_CNT_SDO_SRV;\
    (config).ENTRY_H1200 = OD_ENTRY_H1200;\
    (config).CNT_SDO_CLI = OD_CNT_SDO_CLI;\
    (config).ENTRY_H1280 = OD_ENTRY_H1280;\
    (config).CNT_TIME = OD_CNT_TIME;\
    (config).ENTRY_H1012 = OD_ENTRY_H1012;\
    (config).CNT_SYNC = OD_CNT_SYNC;\
    (config).ENTRY_H1005 = OD_ENTRY_H1005;\
    (config).ENTRY_H1006 = OD_ENTRY_H1006;\
    (config).ENTRY_H1007 = OD_ENTRY_H1007;\
    (config).ENTRY_H1019 = OD_ENTRY_H1019;\
    (config).CNT_RPDO = OD_CNT_RPDO;\
    (config).ENTRY_H1400 = OD_ENTRY_H1400;\
    (config).ENTRY_H1600 = OD_ENTRY_H1600;\
    (config).CNT_TPDO = OD_CNT_TPDO;\
    (config).ENTRY_H1800 = OD_ENTRY_H1800;\
    (config).ENTRY_H1A00 = OD_ENTRY_H1A00;\
    (config).CNT_LEDS = 0;\
    (config).CNT_GFC = 0;\
    (config).ENTRY_H1300 = NULL;\
    (config).CNT_SRDO = 0;\
    (config).ENTRY_H1301 = NULL;\
    (config).ENTRY_H1381 = NULL;\
    (config).ENTRY_H13FE = NULL;\
    (config).ENTRY_H13FF = NULL;\
    (config).CNT_LSS_SLV = 0;\
    (config).CNT_LSS_MST = 0;\
    (config).CNT_GTWA = 0;\
    (config).CNT_TRACE = 0;\
}
#endif

#endif /* OD_H */
```

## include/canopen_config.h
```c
#ifndef CANOPEN_CONFIG_H_
#define CANOPEN_CONFIG_H_

#define CO_CONFIG_GLOBAL_FLAG_CALLBACK_PRE (0)
#define CO_CONFIG_GLOBAL_FLAG_OD_DYNAMIC CO_CONFIG_FLAG_OD_DYNAMIC
#define CO_CONFIG_GLOBAL_FLAG_TIMERNEXT CO_CONFIG_FLAG_TIMERNEXT
#define CO_CONFIG_GLOBAL_RT_FLAG_CALLBACK_PRE (0)

#define CO_CONFIG_EM                                                      \
  (CO_CONFIG_EM_PRODUCER | CO_CONFIG_EM_HISTORY | CO_CONFIG_EM_CONSUMER | \
   CO_CONFIG_GLOBAL_FLAG_CALLBACK_PRE | CO_CONFIG_GLOBAL_FLAG_TIMERNEXT | \
   CO_CONFIG_GLOBAL_FLAG_OD_DYNAMIC)

#define CO_CONFIG_EM_ERR_STATUS_BITS_COUNT (48 + 32)

#define CO_CONFIG_ERR_CONDITION_GENERIC                                      \
  (em->errorStatusBits[5] || CO_CONFIG_ERR_CONDITION_CURRENT ||              \
   CO_CONFIG_ERR_CONDITION_VOLTAGE || CO_CONFIG_ERR_CONDITION_TEMPERATURE || \
   CO_CONFIG_ERR_CONDITION_COMMUNICATION ||                                  \
   CO_CONFIG_ERR_CONDITION_DEV_PROFILE ||                                    \
   CO_CONFIG_ERR_CONDITION_MANUFACTURER)
#define CO_CONFIG_ERR_CONDITION_CURRENT (0)
#define CO_CONFIG_ERR_CONDITION_VOLTAGE (0)
#define CO_CONFIG_ERR_CONDITION_TEMPERATURE (0)
#define CO_CONFIG_ERR_CONDITION_COMMUNICATION \
  (em->errorStatusBits[2] || em->errorStatusBits[3])
#define CO_CONFIG_ERR_CONDITION_DEV_PROFILE (0)
#define CO_CONFIG_ERR_CONDITION_MANUFACTURER (0)

#define CO_CONFIG_FIFO (CO_CONFIG_FIFO_ENABLE)

#define CO_CONFIG_HB_CONS                                               \
  (CO_CONFIG_HB_CONS_ENABLE | CO_CONFIG_HB_CONS_CALLBACK_MULTI |        \
   CO_CONFIG_HB_CONS_QUERY_FUNCT | CO_CONFIG_GLOBAL_FLAG_CALLBACK_PRE | \
   CO_CONFIG_GLOBAL_FLAG_TIMERNEXT | CO_CONFIG_GLOBAL_FLAG_OD_DYNAMIC)

#define CO_CONFIG_LEDS (CO_CONFIG_LEDS_ENABLE | CO_CONFIG_GLOBAL_FLAG_TIMERNEXT)

#define CO_CONFIG_LSS (0)

#define CO_CONFIG_NMT                                          \
  (CO_CONFIG_NMT_MASTER | CO_CONFIG_GLOBAL_FLAG_CALLBACK_PRE | \
   CO_CONFIG_GLOBAL_FLAG_TIMERNEXT)

#define CO_CONFIG_PDO                                                     \
  (CO_CONFIG_RPDO_ENABLE | CO_CONFIG_TPDO_ENABLE |                        \
   CO_CONFIG_RPDO_TIMERS_ENABLE | CO_CONFIG_TPDO_TIMERS_ENABLE |          \
   CO_CONFIG_PDO_SYNC_ENABLE | CO_CONFIG_PDO_OD_IO_ACCESS |               \
   CO_CONFIG_GLOBAL_FLAG_CALLBACK_PRE | CO_CONFIG_GLOBAL_FLAG_TIMERNEXT | \
   CO_CONFIG_GLOBAL_FLAG_OD_DYNAMIC)

#define CO_CONFIG_SDO_CLI                                          \
  (CO_CONFIG_SDO_CLI_ENABLE | CO_CONFIG_SDO_CLI_SEGMENTED |        \
   CO_CONFIG_FLAG_CALLBACK_PRE | CO_CONFIG_GLOBAL_FLAG_TIMERNEXT | \
   CO_CONFIG_GLOBAL_FLAG_OD_DYNAMIC)

#define CO_CONFIG_SDO_SRV                                      \
  (CO_CONFIG_SDO_SRV_SEGMENTED | CO_CONFIG_FLAG_CALLBACK_PRE | \
   CO_CONFIG_GLOBAL_FLAG_TIMERNEXT | CO_CONFIG_GLOBAL_FLAG_OD_DYNAMIC)

#define CO_CONFIG_STORAGE (CO_CONFIG_STORAGE_ENABLE)

// #define CO_CONFIG_STORAGE (0)

#define CO_CONFIG_SYNC                                                       \
  (CO_CONFIG_SYNC_ENABLE | CO_CONFIG_SYNC_PRODUCER |                         \
   CO_CONFIG_GLOBAL_RT_FLAG_CALLBACK_PRE | CO_CONFIG_GLOBAL_FLAG_TIMERNEXT | \
   CO_CONFIG_GLOBAL_FLAG_OD_DYNAMIC)

#define CO_CONFIG_TIME                                   \
  (CO_CONFIG_TIME_ENABLE | CO_CONFIG_FLAG_CALLBACK_PRE | \
   CO_CONFIG_GLOBAL_FLAG_TIMERNEXT | CO_CONFIG_GLOBAL_FLAG_OD_DYNAMIC)

#endif  // CANOPEN_CONFIG_H_
```

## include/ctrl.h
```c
#ifndef CTRL_H_
#define CTRL_H_

// zephyr includes
#include <zephyr/zbus/zbus.h>

// nturt includes
#include <nturt/rear_box/ctrl.h>

/* types ---------------------------------------------------------------------*/
struct ctrl_data {
  float speed;

  struct {
    float torque_cmd;
  } fl, fr, rl, rr;
};

/* function definition -------------------------------------------------------*/
ZBUS_CHAN_DECLARE(ctrl_data_chan);

/* function declaration ------------------------------------------------------*/
enum ctrl_mode ctrl_mode_get();

void ctrl_mode_set(enum ctrl_mode mode);

void ctrl_enable();
void ctrl_disable();

#endif  // CTRL_H_
```

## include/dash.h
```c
#ifndef DASH_H_
#define DASH_H_

// zephyr includes
#include <zephyr/device.h>

// libs includes
#include <canopennode.h>

int dash_keys_init(const struct device* dev, struct canopen* co);

int dash_led_init(const struct device* dev, struct canopen* co);

#endif  // DASH_H_
```

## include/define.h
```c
#ifndef DEFILE_H_
#define DEFILE_H_

// zephyr includes
#include <zephyr/input/input.h>

// nturt include
#include <nturt/nturt.h>

/// @brief Rear box LED numbers.
#define LED_NUM_CANOPEN_RUN 1
#define LED_NUM_CANOPEN_ERR 2
#define LED_NUM_BRAKE_LIGHT 3
#define LED_NUM_RTD_SOUND 4

/// @brief Rear box button keys.
#define INPUT_KEY_BUILTIN INPUT_KEY_0
#define INPUT_KEY_APPS INPUT_KEY_A
#define INPUT_KEY_BSE INPUT_KEY_B

#endif  // DEFILE_H_
```

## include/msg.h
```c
#ifndef MSG_H_
#define MSG_H_

// glibc includes
#include <stdint.h>

// zephyr includes
#include <zephyr/zbus/zbus.h>

// nturt includes
#include <nturt/msg.h>

/**
 * @addtogroup Msg Message
 *
 * @{
 */

/* macro ---------------------------------------------------------------------*/
/**
 * @addtogroup MsgMacro Message Macros
 *
 * @{
 */

/// @brief CANopen node ID of the rear box.
#define MSG_NODE_ID CO_NODE_ID_RB

/**
 * @} // MsgMacro
 */

/* type ----------------------------------------------------------------------*/
struct status_data {
  uint8_t acc;

  struct {
    uint8_t fl;
    uint8_t fr;
    uint8_t rl;
    uint8_t rr;
  } inv;
};

/// @brief Inverter data structure.
struct inv_data {
  struct {
    float speed;
    float torque;
    float voltage;
    float current;
  } fl, fr, rl, rr;
};

/// @brief IMU data structure.
struct imu_data {
  struct {
    float x;
    float y;
    float z;
  } accel, gyro;
};

/* exported variable ---------------------------------------------------------*/
ZBUS_CHAN_DECLARE(status_data_chan);
ZBUS_CHAN_DECLARE(inv_data_chan);
ZBUS_CHAN_DECLARE(imu_data_chan);

/* function declaration ------------------------------------------------------*/
void msg_reset_all_nodes();

/**
 * @} // Msg
 */

#endif  // MSG_H_
```

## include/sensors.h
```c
#ifndef SENSORS_H_
#define SENSORS_H_

// glibc includes
#include <stdbool.h>

// zephyr includes
#include <zephyr/zbus/zbus.h>

/* types----------------------------------------------------------------------*/
struct pedal_data {
  /// @brief Pedal travel in [0, 1].
  float travel;

  /// @brief Pedal travel raw data, apps in degrees, bse in kilopascal.
  float raw[2];

  /// @brief Is pedal engaged.
  bool engaged;
};

/// @brief Sensor data structure.
struct sensor_data {
  struct {
    /// @brief Power voltage in volts.
    float v_24;

    /// @brief Power current in amperes.
    float i_24;

    /// @brief Power current in amperes.
    float i_5;
  } power;

  /// @brief Steering angle in degrees.
  float steer;

  struct pedal_data apps, bse;

  struct {
    /// @brief Suspension travel in meters.
    float dive;

    /// @brief Suspension travel in meters.
    float roll;
  } susp;
};

/* exported variables --------------------------------------------------------*/
ZBUS_CHAN_DECLARE(sensor_data_chan);

/* function declaration ------------------------------------------------------*/
bool sensors_apps_engaged();

bool sensors_bse_engaged();

void steer_set_zero_pos();
#endif  // SENSORS_H_
```

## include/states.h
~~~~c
#ifndef STATES_H_
#define STATES_H_

// glibc includes
#include <stdint.h>

// zephyr includes
#include <zephyr/zbus/zbus.h>

// nturt includes
#include <nturt/rear_box/states.h>

/**
 * @addtogroup States States
 * @brief
 *
 * ```raw
 * ┌─────────────────────────────────────────────────┐
 * │ROOT                                             │
 * │ ┌───────────────────────────────┐ error ┌─────┐ │
 * │ │ERR_FREE                       ├──────►│ERROR│ │
 * │ │ ┌─────────────────┐           │       └──┬──┘ │
 * │ │ │READY            │           │          │    │
 * │ │ │  ┌─────────┐    │           │◄─────────┘    │
 * │ │ │  │RTD_READY│◄───┼──┐        │ error cleared │
 * │ │ │  └───┬─────┘    │  │        │               │
 * │ │ │ break│ ▲        │  │disable │               │
 * │ │ │      ▼ │no break│  │        │               │
 * │ │ │  ┌─────┴────┐   │ ┌┴──────┐ │               │
 * │ │ │  │RTD_STEADY│   │ │RUNNING│ │               │
 * │ │ │  └─┬────────┘   │ └───────┘ │               │
 * │ │ │    │RTD button  │  ▲        │               │
 * │ │ │    ▼            │  │ sound  │               │
 * │ │ │   ┌─────────┐   │  │finished│               │
 * │ │ │   │RTD_SOUND├───┼──┘        │               │
 * │ │ │   └─────────┘   │           │               │
 * │ │ └─────────────────┘           │               │
 * │ └───────────────────────────────┘               │
 * └─────────────────────────────────────────────────┘
 * ```
 */

/* macro ---------------------------------------------------------------------*/
#define STATES_CMD_START (__STATES_CMD_START + 1)
#define STATES_CMD_END (__STATES_CMD_END - 1)

/* type ----------------------------------------------------------------------*/
enum states_update_type {
  STATES_UPDATE_NONE = 0,

  STATES_COND_ERR,
  STATES_COND_APPS,
  STATES_COND_BSE,

  __STATES_CMD_START,

  STATES_CMD_RTD,
  STATES_CMD_RUN,
  STATES_CMD_DISABLE,

  __STATES_CMD_END,

  NUM_STATES_UPDATE_TYPE,
};

struct status_cmd {
  struct {
    uint16_t fl;
    uint16_t fr;
    uint16_t rl;
    uint16_t rr;
  } inv_ctrl_word;
};

/* exported variable ---------------------------------------------------------*/
ZBUS_CHAN_DECLARE(status_cmd_chan);

/* function declaration ------------------------------------------------------*/
states_t states_get_states();

void states_cmd(enum states_update_type cmd);

/**
 * @brief Set the inverter direction.
 *
 * @param dir True for forward, false for reverse.
 */
void states_inv_dir(bool dir);

void states_inv_reset();

#endif  // STATES_H_
~~~~

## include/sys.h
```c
#ifndef SYS_H_
#define SYS_H_

void sys_reset();

#endif // SYS_H_
```

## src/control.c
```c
// zephyr includes
#include <zephyr/zbus/zbus.h>

// project includes
#include "nturt/sensors.h"

ZBUS_SUBSCRIBER_DEFINE(sensor_data_sub, 1);
ZBUS_CHAN_ADD_OBS(sensor_data_chan, sensor_data_sub, 0);
```
